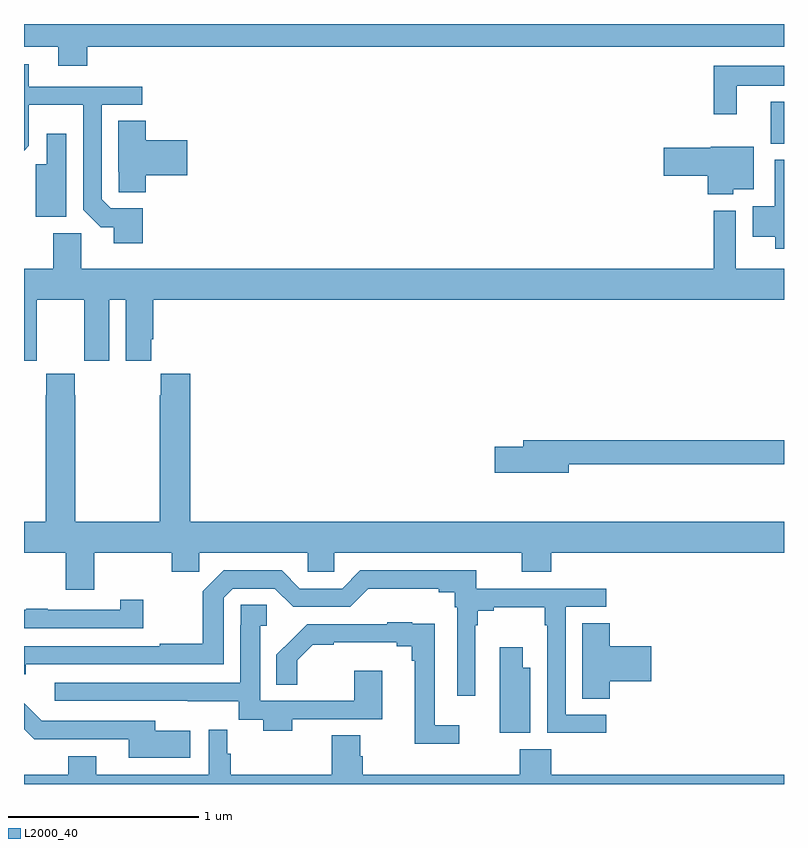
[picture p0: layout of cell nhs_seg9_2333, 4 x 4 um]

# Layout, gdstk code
import gdstk
lib = gdstk.Library(unit=1e-6, precision=1e-09)
def R(c, l, rs):  # rectangles x0, y0, x1, y1
    for r in rs: c.add(gdstk.rectangle(r[:2], r[2:], *l))
def P(c, l, *ps):  # polygons
    for p in ps: c.add(gdstk.Polygon(p, *l))
L2000_40 = (2000, 40)

nhs_seg9_2333 = lib.new_cell('nhs_seg9_2333')
R(nhs_seg9_2333, L2000_40, [(246.929,1235.871,247,1236.091)])
P(nhs_seg9_2333, L2000_40, [(243.332,1236.38),(247,1236.38),(247,1236.5),(243,1236.5),(243,1236.38),(243.179,1236.38),(243.179,1236.281),(243.332,1236.281)],
  [(243.626,1235.529),(243.456,1235.529),(243.408,1235.577),(243.408,1236.075),(243.622,1236.075),(243.622,1236.171),(243.025,1236.171),(243.025,1236.289),(243,1236.289),(243,1235.834),(243.024,1235.858),(243.024,1236.074),(243.312,1236.074),(243.312,1235.523),(243.405,1235.431),(243.473,1235.431),(243.473,1235.346),(243.626,1235.346)],
  [(246.751,1236.176),(247,1236.176),(247,1236.28),(246.63,1236.28),(246.63,1236.024),(246.751,1236.024)],
  [(243.641,1235.705),(243.859,1235.705),(243.859,1235.888),(243.641,1235.888),(243.641,1235.99),(243.497,1235.99),(243.497,1235.722),(243.498,1235.722),(243.498,1235.614),(243.641,1235.614)],
  [(243.223,1235.923),(243.119,1235.923),(243.119,1235.763),(243.062,1235.763),(243.062,1235.485),(243.223,1235.485)],
  [(246.732,1235.63),(246.841,1235.63),(246.841,1235.854),(246.615,1235.854),(246.615,1235.849),(246.366,1235.849),(246.366,1235.702),(246.599,1235.702),(246.599,1235.603),(246.732,1235.603)],
  [(247,1235.786),(246.95,1235.786),(246.95,1235.542),(246.836,1235.542),(246.836,1235.381),(246.953,1235.381),(246.953,1235.316),(247,1235.316)],
  [(243.066,1234.84),(243.067,1234.84),(243.067,1235.048),(243.317,1235.048),(243.317,1234.84),(243.318,1234.84),(243.318,1234.728),(243.448,1234.728),(243.448,1235.048),(243.536,1235.048),(243.536,1234.728),(243.67,1234.728),(243.67,1234.84),(243.68,1234.84),(243.68,1235.048),(247,1235.048),(247,1235.212),(246.747,1235.212),(246.747,1235.518),(246.631,1235.518),(246.631,1235.212),(243.3,1235.212),(243.3,1235.4),(243.154,1235.4),(243.154,1235.212),(243,1235.212),(243,1234.728),(243.066,1234.728)],
  [(243.778,1233.618),(243.923,1233.618),(243.923,1233.716),(244.494,1233.716),(244.494,1233.618),(244.632,1233.618),(244.632,1233.716),(245.621,1233.716),(245.621,1233.617),(245.774,1233.617),(245.774,1233.716),(247,1233.716),(247,1233.88),(243.875,1233.88),(243.875,1234.66),(243.721,1234.66),(243.721,1234.547),(243.715,1234.547),(243.715,1233.88),(243.27,1233.88),(243.27,1234.547),(243.267,1234.547),(243.267,1234.66),(243.117,1234.66),(243.117,1234.547),(243.115,1234.547),(243.115,1233.88),(243,1233.88),(243,1233.716),(243.221,1233.716),(243.221,1233.522),(243.369,1233.522),(243.369,1233.716),(243.778,1233.716)],
  [(245.866,1234.182),(247,1234.182),(247,1234.31),(245.627,1234.31),(245.627,1234.274),(245.478,1234.274),(245.478,1234.139),(245.866,1234.139)],
  [(246.064,1232.865),(245.85,1232.865),(245.85,1233.432),(246.064,1233.432),(246.064,1233.528),(245.379,1233.528),(245.379,1233.624),(244.77,1233.624),(244.674,1233.528),(244.452,1233.528),(244.356,1233.624),(244.05,1233.624),(243.942,1233.515),(243.942,1233.238),(243.715,1233.238),(243.715,1233.225),(243,1233.225),(243,1233.078),(243.009,1233.078),(243.009,1233.129),(244.05,1233.129),(244.05,1233.48),(244.098,1233.528),(244.32,1233.528),(244.416,1233.432),(244.716,1233.432),(244.811,1233.527),(245.183,1233.527),(245.183,1233.508),(245.268,1233.508),(245.268,1233.431),(245.28,1233.431),(245.28,1232.964),(245.376,1232.964),(245.376,1233.335),(245.389,1233.335),(245.389,1233.412),(245.473,1233.412),(245.473,1233.431),(245.742,1233.431),(245.742,1233.335),(245.754,1233.335),(245.754,1232.769),(246.064,1232.769)],
  [(243.628,1233.469),(243.507,1233.469),(243.507,1233.417),(243.125,1233.417),(243.125,1233.422),(243.013,1233.422),(243.013,1233.417),(243,1233.417),(243,1233.321),(243.628,1233.321)],
  [(244.412,1232.841),(244.885,1232.841),(244.885,1233.097),(244.738,1233.097),(244.738,1232.939),(244.495,1232.939),(244.495,1232.937),(244.243,1232.937),(244.243,1233.332),(244.278,1233.332),(244.278,1233.443),(244.14,1233.443),(244.14,1233.335),(244.139,1233.335),(244.139,1233.033),(243.162,1233.033),(243.162,1232.937),(243.861,1232.937),(243.861,1232.936),(244.13,1232.936),(244.13,1232.837),(244.259,1232.837),(244.259,1232.78),(244.412,1232.78)],
  [(245.29,1232.809),(245.161,1232.809),(245.161,1233.344),(245.043,1233.344),(245.043,1233.352),(244.911,1233.352),(244.911,1233.342),(244.49,1233.342),(244.411,1233.263),(244.412,1233.262),(244.328,1233.179),(244.328,1233.022),(244.438,1233.022),(244.438,1233.151),(244.521,1233.234),(244.63,1233.234),(244.63,1233.245),(244.961,1233.245),(244.961,1233.226),(245.04,1233.226),(245.04,1233.149),(245.057,1233.149),(245.057,1232.711),(245.29,1232.711)],
  [(246.083,1233.041),(246.301,1233.041),(246.301,1233.224),(246.083,1233.224),(246.083,1233.347),(245.939,1233.347),(245.939,1232.95),(246.083,1232.95)],
  [(245.665,1233.112),(245.626,1233.112),(245.626,1233.22),(245.504,1233.22),(245.504,1232.769),(245.665,1232.769)],
  [(243.874,1232.779),(243.691,1232.779),(243.691,1232.832),(243.093,1232.832),(243,1232.925),(243,1232.788),(243.053,1232.735),(243.148,1232.735),(243.148,1232.736),(243.551,1232.736),(243.551,1232.639),(243.874,1232.639)],
  [(247,1232.548),(245.774,1232.548),(245.774,1232.683),(245.609,1232.683),(245.609,1232.548),(244.784,1232.548),(244.784,1232.646),(244.771,1232.646),(244.771,1232.756),(244.619,1232.756),(244.619,1232.548),(244.088,1232.548),(244.088,1232.658),(244.069,1232.658),(244.069,1232.785),(243.972,1232.785),(243.972,1232.548),(243.379,1232.548),(243.379,1232.647),(243.232,1232.647),(243.232,1232.548),(243,1232.548),(243,1232.5),(247,1232.5)])

lib.write_gds('nhs_seg9_2333.gds')
